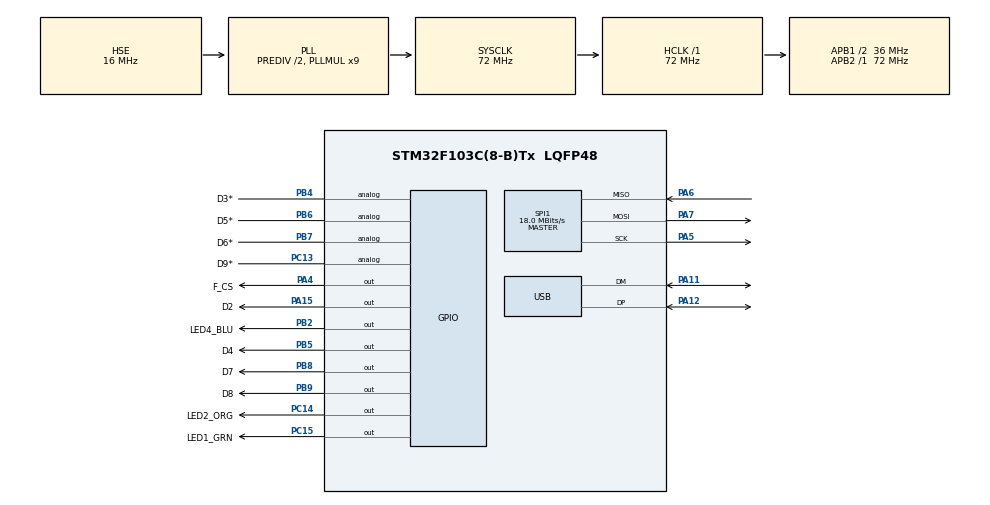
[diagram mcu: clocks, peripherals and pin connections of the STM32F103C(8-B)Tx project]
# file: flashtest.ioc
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FATFS._CODE_PAGE=1
FATFS._FS_TINY=1
FATFS._LFN_UNICODE=0
FATFS._MAX_SS=4096
FATFS._MIN_SS=4096
FATFS._STRF_ENCODE=0
FATFS._USE_LFN=0
FATFS._WORD_ACCESS=1
Mcu.Family=STM32F1
Mcu.Name=STM32F103C(8-B)Tx
Mcu.Package=LQFP48
NVIC.PriorityGroup=NVIC_PRIORITYGROUP_4
NVIC.USB_LP_CAN1_RX0_IRQn=true\:0\:0\:false\:false\:true\:false\:true\:true
PA0-WKUP.GPIO_Label=A0
PA0-WKUP.Signal=ADCx_IN0
PA1.GPIO_Label=A1
PA1.Signal=ADCx_IN1
PA11.Mode=Device
PA11.Signal=USB_DM
PA12.Mode=Device
PA12.Signal=USB_DP
PA13.Mode=Trace_Asynchronous_SW
PA13.Signal=SYS_JTMS-SWDIO
PA14.Mode=Trace_Asynchronous_SW
PA14.Signal=SYS_JTCK-SWCLK
PA15.GPIO_Label=D2
PA15.Signal=GPIO_Output
PA2.GPIO_Label=A2
PA2.Signal=ADCx_IN2
PA3.GPIO_Label=A3
PA3.Signal=ADCx_IN3
PA4.GPIO_Label=F_CS
PA4.Signal=GPIO_Output
PA5.Mode=Full_Duplex_Master
PA5.Signal=SPI1_SCK
PA6.Mode=Full_Duplex_Master
PA6.Signal=SPI1_MISO
PA7.Mode=Full_Duplex_Master
PA7.Signal=SPI1_MOSI
PA8.GPIO_Label=LED3_RED
PA8.Signal=S_TIM1_CH1
PB0.GPIO_Label=A6
PB0.Signal=ADCx_IN8
PB1.GPIO_Label=A7
PB1.Signal=ADCx_IN9
PB2.GPIO_Label=LED4_BLU
PB2.Signal=GPIO_Output
PB3.Mode=Trace_Asynchronous_SW
PB3.Signal=SYS_JTDO-TRACESWO
PB4.GPIO_Label=D3*
PB4.Signal=GPIO_Analog
PB5.GPIO_Label=D4
PB5.Signal=GPIO_Output
PB6.GPIO_Label=D5*
PB6.Signal=GPIO_Analog
PB7.GPIO_Label=D6*
PB7.Signal=GPIO_Analog
PB8.GPIO_Label=D7
PB8.Signal=GPIO_Output
PB9.GPIO_Label=D8
PB9.Signal=GPIO_Output
PC13-TAMPER-RTC.GPIO_Label=D9*
PC13-TAMPER-RTC.Signal=GPIO_Analog
PC14-OSC32_IN.GPIO_Label=LED2_ORG
PC14-OSC32_IN.Signal=GPIO_Output
PC15-OSC32_OUT.GPIO_Label=LED1_GRN
PC15-OSC32_OUT.Signal=GPIO_Output
PD0-OSC_IN.Mode=HSE-External-Oscillator
PD0-OSC_IN.Signal=RCC_OSC_IN
PD1-OSC_OUT.Mode=HSE-External-Oscillator
PD1-OSC_OUT.Signal=RCC_OSC_OUT
ProjectManager.HeapSize=0x200
ProjectManager.StackSize=0x400
ProjectManager.TargetToolchain=STM32CubeIDE
RCC.ADCPresc=RCC_ADCPCLK2_DIV6
RCC.AHBFreq_Value=72000000
RCC.APB1CLKDivider=RCC_HCLK_DIV2
RCC.APB1Freq_Value=36000000
RCC.APB1TimFreq_Value=72000000
RCC.APB2Freq_Value=72000000
RCC.APB2TimFreq_Value=72000000
RCC.HCLKFreq_Value=72000000
RCC.HSEDivPLL=RCC_HSE_PREDIV_DIV2
RCC.HSE_VALUE=16000000
RCC.PLLMUL=RCC_PLL_MUL9
RCC.PLLSourceVirtual=RCC_PLLSOURCE_HSE
RCC.SYSCLKFreq_VALUE=72000000
RCC.SYSCLKSource=RCC_SYSCLKSOURCE_PLLCLK
RCC.USBFreq_Value=48000000
RCC.USBPrescaler=RCC_USBCLKSOURCE_PLL_DIV1_5
SH.ADCx_IN0.0=ADC1_IN0
SH.ADCx_IN1.0=ADC1_IN1
SH.ADCx_IN2.0=ADC1_IN2
SH.ADCx_IN3.0=ADC1_IN3
SH.ADCx_IN8.0=ADC1_IN8
SH.ADCx_IN9.0=ADC1_IN9
SH.S_TIM1_CH1.0=TIM1_CH1
SPI1.BaudRatePrescaler=SPI_BAUDRATEPRESCALER_4
SPI1.CalculateBaudRate=18.0 MBits/s
SPI1.Direction=SPI_DIRECTION_2LINES
SPI1.Mode=SPI_MODE_MASTER
SPI1.VirtualType=VM_MASTER
USB_DEVICE.CLASS_NAME_FS=MSC
USB_DEVICE.MANUFACTURER_STRING=easy-smart solution GmbH
USB_DEVICE.MSC_MEDIA_PACKET=4096
USB_DEVICE.PRODUCT_STRING_MSC_FS=easy-smart.ch Mass Storage
USB_DEVICE.USBD_MAX_NUM_INTERFACES=1
USB_DEVICE.VirtualMode=Msc
USB_DEVICE.VirtualModeFS=Msc_FS
VP_FATFS_VS_Generic.Mode=User_defined
VP_USB_DEVICE_VS_USB_DEVICE_MSC_FS.Mode=MSC_FS
board=custom

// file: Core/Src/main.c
/* USER CODE BEGIN Header */
/**
  ******************************************************************************
  * @file           : main.c
  * @brief          : Main program body
  ******************************************************************************
  * @attention
  *
  * Copyright (c) 2023 STMicroelectronics.
  * All rights reserved.
  *
  * This software is licensed under terms that can be found in the LICENSE file
  * in the root directory of this software component.
  * If no LICENSE file comes with this software, it is provided AS-IS.
  *
  ******************************************************************************
  */
/* USER CODE END Header */
#include "main.h"
#include "fatfs.h"
#include "spi.h"
#include "usb_device.h"
#include "gpio.h"

void SystemClock_Config(void);

int main(void)
{
  /* USER CODE BEGIN 1 */
  DBG=Debugger_create(0);
  /* USER CODE END 1 */

  /* MCU Configuration--------------------------------------------------------*/

  /* Reset of all peripherals, Initializes the Flash interface and the Systick. */
  HAL_Init();

  /* Configure the system clock */
  SystemClock_Config();

  /* Initialize all configured peripherals */
  MX_GPIO_Init();
  MX_SPI1_Init();
  MX_USB_DEVICE_Init();
  MX_FATFS_Init();

  /* Infinite loop */
  /* USER CODE BEGIN WHILE */
    HAL_GPIO_WritePin(LED1_GRN_GPIO_Port,LED1_GRN_Pin,GPIO_PIN_SET);
    HAL_GPIO_WritePin(LED2_ORG_GPIO_Port,LED2_ORG_Pin,GPIO_PIN_SET);
    HAL_GPIO_WritePin(LED3_RED_GPIO_Port,LED3_RED_Pin,GPIO_PIN_SET);
    HAL_GPIO_WritePin(LED4_BLU_GPIO_Port,LED4_BLU_Pin,GPIO_PIN_SET);

    uint8_t pwmset=0;
    uint16_t time=0;
    uint8_t timeflag=0;
    uint8_t timecount=0;

    uint32_t tick1=0;

    while (1)
  {
        if(tick1 - HAL_GetTick() > 10) {
            tick1 = HAL_GetTick();

            /* LED4_BLU Breathing Lamp test */
            /* Breathing Lamp */
            if (timeflag == 0) {
                time++;
                if (time >= 1600) timeflag = 1;
            } else {
                time--;
                if (time == 0) timeflag = 0;
            }

            /* Duty Cycle Setting */
            pwmset = time / 80;

            /* 20ms Pulse Width */
            if (timecount > 20) timecount = 0;
            else timecount++;

            if (timecount >= pwmset) HAL_GPIO_WritePin(LED4_BLU_GPIO_Port, LED4_BLU_Pin, GPIO_PIN_SET);
            else HAL_GPIO_WritePin(LED4_BLU_GPIO_Port, LED4_BLU_Pin, GPIO_PIN_RESET);
        }
    /* USER CODE END WHILE */

  }
}

void SystemClock_Config(void)
{
  RCC_OscInitTypeDef RCC_OscInitStruct = {0};
  RCC_ClkInitTypeDef RCC_ClkInitStruct = {0};
  RCC_PeriphCLKInitTypeDef PeriphClkInit = {0};

  /** Initializes the RCC Oscillators according to the specified parameters
  * in the RCC_OscInitTypeDef structure.
  */
  RCC_OscInitStruct.OscillatorType = RCC_OSCILLATORTYPE_HSE;
  RCC_OscInitStruct.HSEState = RCC_HSE_ON;
  RCC_OscInitStruct.HSEPredivValue = RCC_HSE_PREDIV_DIV2;
  RCC_OscInitStruct.HSIState = RCC_HSI_ON;
  RCC_OscInitStruct.PLL.PLLState = RCC_PLL_ON;
  RCC_OscInitStruct.PLL.PLLSource = RCC_PLLSOURCE_HSE;
  RCC_OscInitStruct.PLL.PLLMUL = RCC_PLL_MUL9;
  if (HAL_RCC_OscConfig(&RCC_OscInitStruct) != HAL_OK)
  {
    Error_Handler();
  }

  /** Initializes the CPU, AHB and APB buses clocks
  */
  RCC_ClkInitStruct.ClockType = RCC_CLOCKTYPE_HCLK|RCC_CLOCKTYPE_SYSCLK
                              |RCC_CLOCKTYPE_PCLK1|RCC_CLOCKTYPE_PCLK2;
  RCC_ClkInitStruct.SYSCLKSource = RCC_SYSCLKSOURCE_PLLCLK;
  RCC_ClkInitStruct.AHBCLKDivider = RCC_SYSCLK_DIV1;
  RCC_ClkInitStruct.APB1CLKDivider = RCC_HCLK_DIV2;
  RCC_ClkInitStruct.APB2CLKDivider = RCC_HCLK_DIV1;

  if (HAL_RCC_ClockConfig(&RCC_ClkInitStruct, FLASH_LATENCY_2) != HAL_OK)
  {
    Error_Handler();
  }
  PeriphClkInit.PeriphClockSelection = RCC_PERIPHCLK_USB;
  PeriphClkInit.UsbClockSelection = RCC_USBCLKSOURCE_PLL_DIV1_5;
  if (HAL_RCCEx_PeriphCLKConfig(&PeriphClkInit) != HAL_OK)
  {
    Error_Handler();
  }
}

void Error_Handler(void)
{
  __disable_irq();
  while (1)
  {
  }
}
